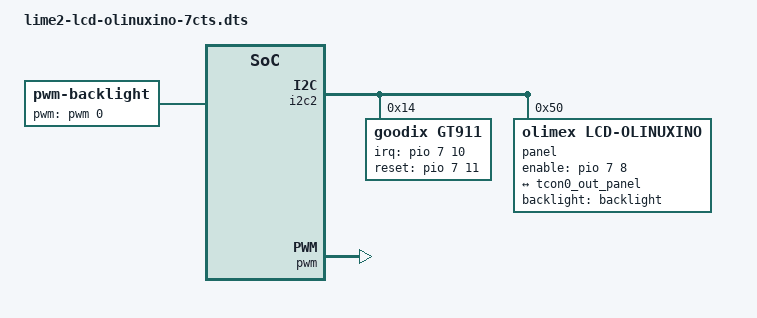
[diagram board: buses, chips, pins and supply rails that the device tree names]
/dts-v1/;
/plugin/;

/ {
	compatible = "olimex,a20-olinuxino-lime2",
		     "olimex,a20-olinuxino-lime2-emmc";
	description = "LCD-OLinuXino-7 with digital CTS touchscreen";

	fragment@0 {
		target-path = "/";
		__overlay__ {
			backlight: backlight {
				compatible = "pwm-backlight";
				pwms = <&pwm 0 50000 1>;
				brightness-levels = <0 10 20 30 40 50 60 70 80 90 100>;
				default-brightness-level = <10>;
			};
		};
	};

	fragment1 {
		target = <&i2c2>;
		__overlay__ {
			gt911@14 {
				compatible = "goodix,gt911";
				reg = <0x14>;

				interrupt-parent = <&pio>;
				interrupts = <7 10 2>;		/* PH10: IRQ_TYPE_EDGE_FALLING */

				irq-gpios = <&pio 7 10 0>;	/* PH10 */
				reset-gpios = <&pio 7 11 0>;	/* PH11: GPIO_ACTIVE_HIGH */

				touchscreen-swapped-x-y;
			};

			panel@50 {
				pinctrl-names = "default";
				pinctrl-0 = <&lcd_rgb888_pins>;
				reg = <0x50>;

				compatible = "olimex,lcd-olinuxino";
				status = "okay";

				enable-gpios = <&pio 7 8 0>;
				backlight = <&backlight>;

				port {
					panel_in_tcon0: endpoint {
						remote-endpoint = <&tcon0_out_panel>;
					};
				};
			};
		};
	};

	fragment@2 {
		target = <&pwm>;
		__overlay__ {
			pinctrl-names = "default";
			pinctrl-0 = <&pwm0_pin>;
			status = "okay";
		};
	};

	fragment@3 {
		target = <&pio>;
		__overlay__ {
			lcd_rgb888_pins: lcd-rgb888-pins {
				pins = "PD0", "PD1", "PD2", "PD3", "PD4",
				       "PD5", "PD6", "PD7", "PD8", "PD9",
				       "PD10", "PD11", "PD12", "PD13", "PD14",
				       "PD15", "PD16", "PD17", "PD18", "PD19",
				       "PD20", "PD21", "PD22", "PD23", "PD24",
				       "PD25", "PD26", "PD27";
				function = "lcd0";
			};
		};
	};

	fragment@4 {
		target = <&tcon0_out>;
		__overlay__ {
			tcon0_out_panel: endpoint@0 {
				reg = <0>;
				remote-endpoint = <&panel_in_tcon0>;
			};
		};
	};
};
